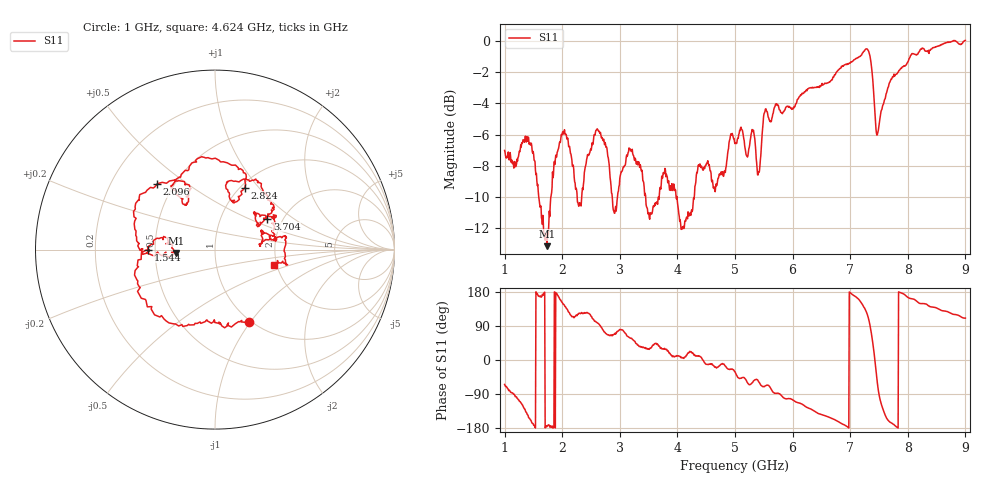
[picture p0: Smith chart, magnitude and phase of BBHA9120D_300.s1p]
!Keysight Technologies N9915A: A.08.18
!Date: Tuesday, 30 July 2019 13:40:11
!TimeZone: (GMT+08:00) Perth!Model: N9915A
!Serial: MY53102697
!GPS Latitude:
!GPS Longitude:
!GPS TimeStamp: 0001-01-01 00:00:00Z
!GPS Seconds Since Last Read: 0
!CHECKSUM:1185453533
!Correction: S11(ON U)
!S1P File: Measurement: S11:
# Hz S DB R 50
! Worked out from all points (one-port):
!   1001 points, 1 GHz to 9 GHz, reference 50 ohm
!   lowest |S11| = -13.2 dB at 1.736 GHz (marker M1), VSWR 1.56, Z = 32 - j1.22 ohm
!   |S11| at or under -10 dB: 1.593 GHz to 1.803 GHz (210.2 MHz wide, 12.4 % of centre); 3.449 GHz to 3.671 GHz (222 MHz wide, 6.24 % of centre); 3.993 GHz to 4.292 GHz (299.7 MHz wide, 7.23 % of centre)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
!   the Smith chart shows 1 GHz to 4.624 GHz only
!   S11 on the Smith chart (normalised r, x): 1 GHz: 0.98, -0.99; 1.544 GHz: 0.46, +0.00; 2.096 GHz: 0.40, +0.39; 2.824 GHz: 1.05, +0.84; 3.704 GHz: 1.66, +0.65; 4.624 GHz: 1.93, -0.36
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1e9  -7.02 -64.5
1.32e9  -6.33 -122.2
1.544e9  -8.57 179.9
1.736e9  -13.15 -175.3
2e9  -5.93 151.8
2.096e9  -6.23 131.3
2.296e9  -10.49 123.5
2.616e9  -5.69 97.3
2.824e9  -8.38 64.3
3e9  -8.81 80.6
3.32e9  -7.82 39.2
3.704e9  -9.40 30.7
4e9  -10.33 10.3
4.624e9  -9.42 -14.3
5e9  -6.58 -31.3
5.568e9  -4.70 -66.6
6e9  -4.30 -105.3
6.704e9  -2.30 -155.9
7e9  -1.42 177.5
7.216e9  -0.77 145.6
7.32e9  -0.66 108.1
7.368e9  -1.58 70.0
7.416e9  -3.82 16.9
7.472e9  -5.99 -61.0
7.528e9  -4.69 -109.9
7.68e9  -2.69 -162.5
8e9  -1.34 165.3
9e9  0.03 110.5
